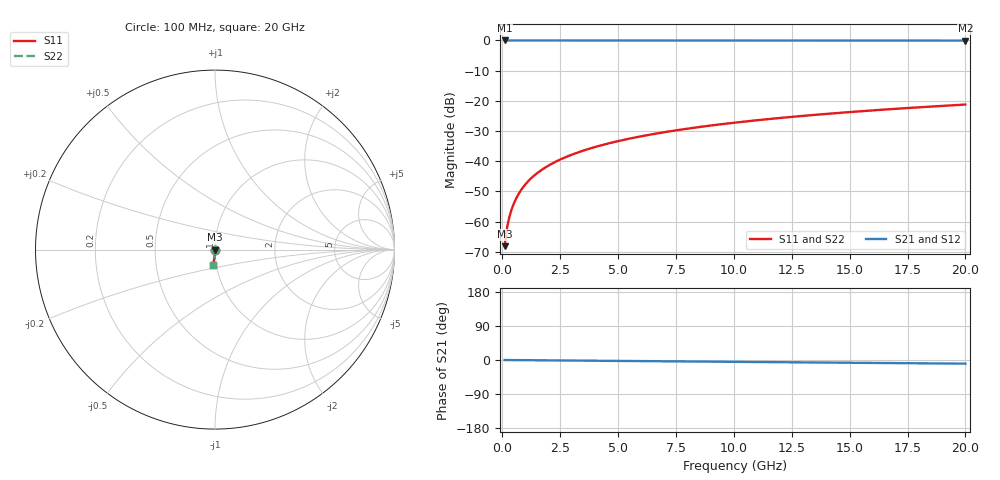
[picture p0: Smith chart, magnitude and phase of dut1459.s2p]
! Touchstone file exported from HFSS 2026.1.0
!  File:  C:/ffzhzh/LocalFiles/Ansys_Project_Files/temp_train_TSV_1459_1783198056_18472.aedt
!  Generated:  04:49:01 AM Jul  5, 2026
!  Design:  TSV
!  Project:  temp_train_TSV_1459_1783198056_18472
! Variables:
!  h_bsmrdl = 2um
!  h_ox = 20um
!  h_rdl = 5um
!  h_sub = 87.74um
!  h_tmrdl = 5um
!  h_tsv = 87.74um
!  h_via = 3um
!  l_bsmrdl = 300um
!  l_sub = 429.36um
!  l_tmrdl = 200um
!  m_sub = 200um
!  pitch = 38.18um
!  r_tsv = 14.68um
!  s_tmrdl = 10um
!  w_bsmrdl = 18um
!  w_sub = 500um
!  w_tmrdl = 12um
!  x_tsv_center1 = 206um
!  x_tsv_center2 = 524um
!  x_tsv_center3 = 736um
!  x_tsv_center4 = 1054um
!  x_tsv_center5 = 1266um
!  x_tsv_center6 = 1584um
# GHz S MA R 50.000000
! Terminal data exported
! Port[1] = TSV1_1_T1
! Port[2] = TSV1_1_T2
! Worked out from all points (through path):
!   200 points, 100 MHz to 20 GHz, reference 50 ohm
!   highest |S21| = 0.00 dB at 100 MHz (marker M1); lowest = 0.0 dB at 20 GHz (marker M2)
!   group delay of S21, straight-line fit = 1.34 ps
!   lowest |S11| = -68.1 dB at 100 MHz (marker M3), VSWR 1.00, Z = 50 - j0.0382 ohm
!   |S11| at or under -10 dB: start of sweep to end of sweep
!   |S22| runs from -68.1 to -21.2 dB; largest |S21 - S12| = 3.2e-15
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0.1  0.0003923 -77.1  0.9999 -0.1  0.9999 -0.1  0.0003923 -77.1
! Gamma 0 0 0 0
! Port Impedance 50 0 50 0
0.2  0.0007779 -82.1  0.9999 -0.1  0.9999 -0.1  0.0007779 -82.1
0.3  0.001176 -83.5  0.9999 -0.2  0.9999 -0.2  0.001176 -83.5
0.4  0.001584 -84.2  0.9998 -0.2  0.9998 -0.2  0.001584 -84.2
0.5  0.002002 -84.6  0.9998 -0.3  0.9998 -0.3  0.002002 -84.6
0.7  0.002854 -85.3  0.9997 -0.4  0.9997 -0.4  0.002854 -85.3
0.8  0.003286 -85.6  0.9997 -0.4  0.9997 -0.4  0.003286 -85.6
1  0.004152 -86.2  0.9997 -0.5  0.9997 -0.5  0.004152 -86.2
1.2  0.005021 -86.7  0.9996 -0.6  0.9996 -0.6  0.005021 -86.7
1.4  0.00589 -87.2  0.9996 -0.7  0.9996 -0.7  0.00589 -87.2
1.7  0.007192 -87.7  0.9996 -0.8  0.9996 -0.8  0.007192 -87.7
2  0.008493 -88.2  0.9995 -1.0  0.9995 -1.0  0.008493 -88.2
2.7  0.01153 -89.0  0.9995 -1.3  0.9995 -1.3  0.01153 -89.0
3.5  0.015 -89.7  0.9994 -1.7  0.9994 -1.7  0.015 -89.7
4.2  0.01805 -90.2  0.9993 -2.0  0.9993 -2.0  0.01805 -90.2
5  0.02153 -90.7  0.9991 -2.4  0.9991 -2.4  0.02153 -90.7
6.8  0.02939 -91.8  0.9988 -3.3  0.9988 -3.3  0.02939 -91.8
8.3  0.03595 -92.7  0.9985 -4.0  0.9985 -4.0  0.03595 -92.7
10.1  0.04381 -93.7  0.9981 -4.9  0.9981 -4.9  0.04381 -93.7
13.4  0.0582 -95.4  0.9973 -6.5  0.9973 -6.5  0.0582 -95.4
16.7  0.07254 -97.1  0.9962 -8.1  0.9962 -8.1  0.07254 -97.1
20  0.08683 -98.8  0.9949 -9.6  0.9949 -9.6  0.08683 -98.8
